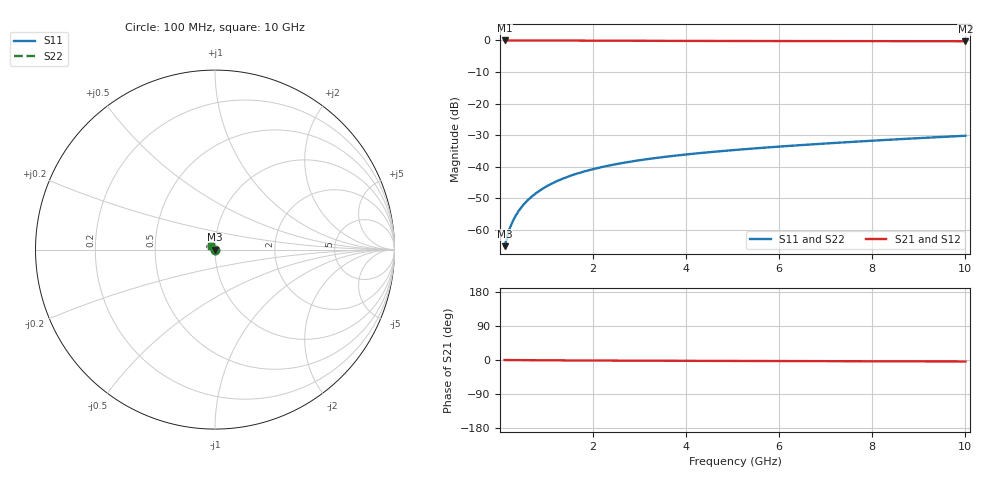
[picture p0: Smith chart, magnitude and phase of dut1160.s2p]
! Touchstone file exported from HFSS 2024.1.0
!  File:  C:/UserFiles/LocalFiles/RDL_TSV_Batchsim/temp_TSV1_1160_1780072746.aedt
!  Generated:  12:48:15 AM May 30, 2026
!  Design:  TSV1
!  Project:  temp_TSV1_1160_1780072746
!  Setup:  Setup1
!  Solution:  Sweep
! Variables:
!  dtsv = 6.74um
!  hbump = 3um
!  htsv = 53.3um
!  lrdl = 252.1521522um
!  p = 40
!  p1 = 56.34um
!  t = 500um
!  trdl = 3um
!  wrdl = 24.89489489um
# GHz S MA R 50.000000
! Terminal data exported
! Port[1] = TSV22_T1
! Port[2] = TSV22_T2
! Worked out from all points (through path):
!   100 points, 100 MHz to 10 GHz, reference 50 ohm
!   highest |S21| = 0.00 dB at 100 MHz (marker M1); lowest = -0.2 dB at 10 GHz (marker M2)
!   lowest |S11| = -65.1 dB at 100 MHz (marker M3), VSWR 1.00, Z = 50 - j0.0506 ohm
!   |S11| at or under -10 dB: start of sweep to end of sweep
!   |S22| runs from -65.1 to -30.2 dB; largest |S21 - S12| = 8.3e-15
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0.1  0.000554 -66.0  0.9997 -0.1  0.9997 -0.1  0.000554 -66.0
! Gamma 0 0 0 0
! Port Impedance 50 0 50 0
0.2  0.001021 -81.3  0.9996 -0.2  0.9996 -0.2  0.001021 -81.3
0.3  0.001506 -88.5  0.9995 -0.2  0.9995 -0.2  0.001506 -88.5
0.4  0.001996 -93.5  0.9994 -0.3  0.9994 -0.3  0.001996 -93.5
0.5  0.002487 -97.5  0.9991 -0.4  0.9991 -0.4  0.002487 -97.5
0.6  0.002977 -100.9  0.9989 -0.5  0.9989 -0.5  0.002977 -100.9
0.7  0.003463 -104.1  0.9986 -0.6  0.9986 -0.6  0.003463 -104.1
0.8  0.003946 -107.0  0.9983 -0.6  0.9983 -0.6  0.003946 -107.0
0.9  0.004423 -109.8  0.9979 -0.7  0.9979 -0.7  0.004423 -109.8
1.1  0.005358 -115.2  0.9971 -0.8  0.9971 -0.8  0.005358 -115.2
1.4  0.006706 -122.6  0.9957 -1.0  0.9957 -1.0  0.006706 -122.6
1.6  0.007564 -127.3  0.9948 -1.2  0.9948 -1.2  0.007564 -127.3
1.8  0.008389 -131.8  0.9937 -1.3  0.9937 -1.3  0.008389 -131.8
2.1  0.009564 -138.2  0.9922 -1.4  0.9922 -1.4  0.009564 -138.2
2.5  0.01102 -146.1  0.9901 -1.6  0.9901 -1.6  0.01102 -146.1
2.9  0.01237 -153.4  0.9881 -1.8  0.9881 -1.8  0.01237 -153.4
3.4  0.01393 -161.7  0.9858 -2.0  0.9858 -2.0  0.01393 -161.7
4.2  0.01621 -173.3  0.9827 -2.3  0.9827 -2.3  0.01621 -173.3
5.1  0.01859 175.8  0.98 -2.5  0.98 -2.5  0.01859 175.8
6.7  0.02262 160.6  0.9767 -3.0  0.9767 -3.0  0.02262 160.6
8.4  0.02689 148.6  0.9743 -3.5  0.9743 -3.5  0.02689 148.6
10  0.03099 140.1  0.9728 -3.9  0.9728 -3.9  0.03099 140.1
